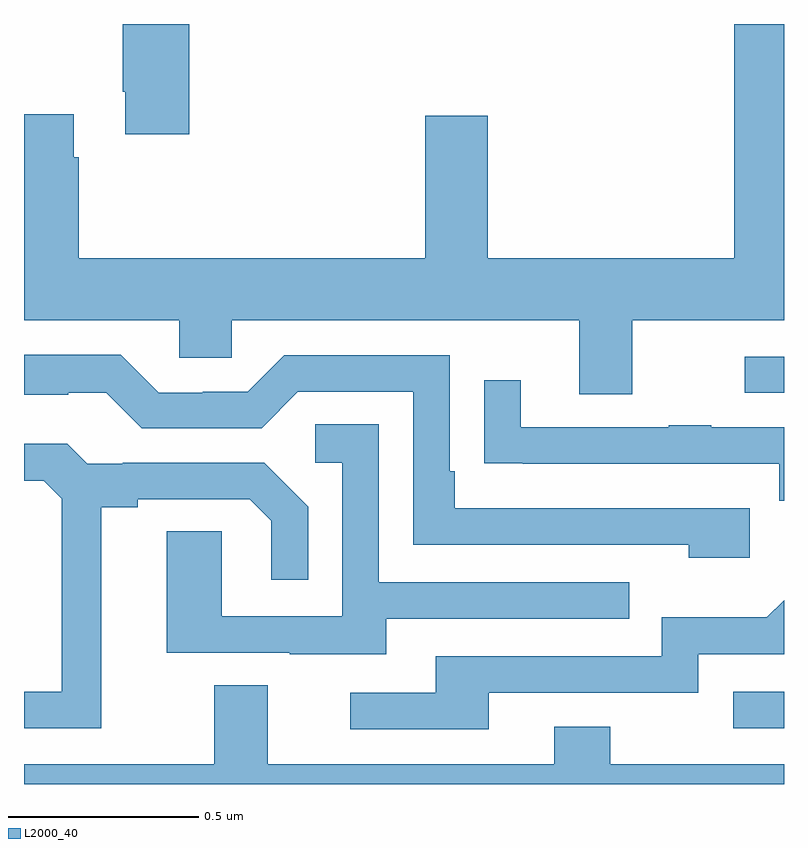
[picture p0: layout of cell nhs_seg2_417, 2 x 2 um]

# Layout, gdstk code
import gdstk
lib = gdstk.Library(unit=1e-6, precision=1e-09)
def R(c, l, rs):  # rectangles x0, y0, x1, y1
    for r in rs: c.add(gdstk.rectangle(r[:2], r[2:], *l))
def P(c, l, *ps):  # polygons
    for p in ps: c.add(gdstk.Polygon(p, *l))
L2000_40 = (2000, 40)

nhs_seg2_417 = lib.new_cell('nhs_seg2_417')
R(nhs_seg2_417, L2000_40, [(117.867,595.947,118,596.043), (117.897,596.829,118,596.925)])
P(nhs_seg2_417, L2000_40, [(117.601,597.02),(118,597.02),(118,597.8),(117.869,597.8),(117.869,597.184),(117.22,597.184),(117.22,597.559),(117.056,597.559),(117.056,597.184),(116.144,597.184),(116.144,597.449),(116.131,597.449),(116.131,597.562),(116,597.562),(116,597.02),(116.409,597.02),(116.409,596.922),(116.547,596.922),(116.547,597.02),(117.461,597.02),(117.461,596.826),(117.601,596.826)],
  [(116.435,597.8),(116.26,597.8),(116.26,597.622),(116.267,597.622),(116.267,597.51),(116.435,597.51)],
  [(117.91,596.526),(117.133,596.526),(117.133,596.623),(117.12,596.623),(117.12,596.928),(116.685,596.928),(116.589,596.832),(116.471,596.832),(116.471,596.829),(116.355,596.829),(116.255,596.929),(116,596.929),(116,596.825),(116.117,596.825),(116.117,596.829),(116.217,596.829),(116.31,596.736),(116.625,596.736),(116.721,596.832),(117.024,596.832),(117.024,596.43),(117.749,596.43),(117.749,596.396),(117.91,596.396)],
  [(118,596.739),(117.809,596.739),(117.809,596.744),(117.697,596.744),(117.697,596.739),(117.307,596.739),(117.307,596.863),(117.211,596.863),(117.211,596.644),(117.313,596.644),(117.313,596.643),(117.988,596.643),(117.988,596.546),(118,596.546)],
  [(116.953,596.235),(117.593,596.235),(117.593,596.331),(116.934,596.331),(116.934,596.747),(116.766,596.747),(116.766,596.646),(116.838,596.646),(116.838,596.241),(116.52,596.241),(116.52,596.465),(116.375,596.465),(116.375,596.145),(116.699,596.145),(116.699,596.141),(116.953,596.141)],
  [(116.203,596.528),(116.299,596.528),(116.299,596.55),(116.594,596.55),(116.651,596.493),(116.651,596.337),(116.748,596.337),(116.748,596.53),(116.632,596.646),(116.26,596.646),(116.26,596.643),(116.166,596.643),(116.114,596.695),(116,596.695),(116,596.598),(116.052,596.598),(116.099,596.551),(116.099,596.043),(116,596.043),(116,595.947),(116.203,595.947)],
  [(117.223,596.04),(117.774,596.04),(117.774,596.142),(118,596.142),(118,596.284),(117.955,596.239),(117.678,596.239),(117.678,596.136),(117.083,596.136),(117.083,596.04),(116.859,596.04),(116.859,595.944),(117.223,595.944)],
  [(118,595.852),(117.543,595.852),(117.543,595.951),(117.395,595.951),(117.395,595.852),(116.641,595.852),(116.641,596.06),(116.501,596.06),(116.501,595.852),(116,595.852),(116,595.8),(118,595.8)])

lib.write_gds('nhs_seg2_417.gds')
